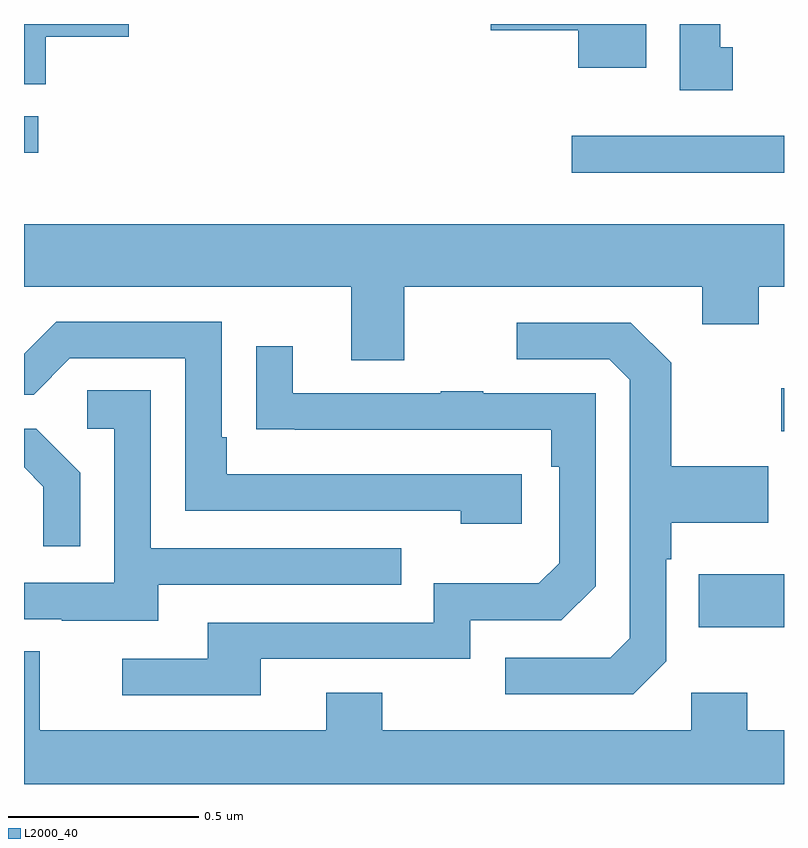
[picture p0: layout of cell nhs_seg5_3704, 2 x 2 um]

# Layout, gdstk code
import gdstk
lib = gdstk.Library(unit=1e-6, precision=1e-09)
def R(c, l, rs):  # rectangles x0, y0, x1, y1
    for r in rs: c.add(gdstk.rectangle(r[:2], r[2:], *l))
def P(c, l, *ps):  # polygons
    for p in ps: c.add(gdstk.Polygon(p, *l))
L2000_40 = (2000, 40)

nhs_seg5_3704 = lib.new_cell('nhs_seg5_3704')
R(nhs_seg5_3704, L2000_40, [(162.775,841.211,163,841.351), (162.993,841.727,163,841.84), (162.441,842.408,163,842.505), (161,842.46,161.038,842.556)])
P(nhs_seg5_3704, L2000_40, [(161.057,842.765),(161.275,842.765),(161.275,842.799),(161,842.799),(161,842.641),(161.057,842.641)],
  [(162.865,842.738),(162.832,842.738),(162.832,842.799),(162.725,842.799),(162.725,842.625),(162.865,842.625)],
  [(162.637,842.799),(162.228,842.799),(162.228,842.783),(162.458,842.783),(162.458,842.684),(162.637,842.684)],
  [(162.001,842.108),(162.785,842.108),(162.785,842.009),(162.933,842.009),(162.933,842.108),(163,842.108),(163,842.272),(161,842.272),(161,842.108),(161.861,842.108),(161.861,841.914),(162.001,841.914)],
  [(162.31,841.614),(161.533,841.614),(161.533,841.711),(161.52,841.711),(161.52,842.016),(161.085,842.016),(161,841.931),(161,841.824),(161.025,841.824),(161.121,841.92),(161.424,841.92),(161.424,841.518),(162.149,841.518),(162.149,841.484),(162.31,841.484)],
  [(162.69,841.122),(162.69,841.391),(162.703,841.391),(162.703,841.487),(162.959,841.487),(162.959,841.635),(162.703,841.635),(162.703,841.907),(162.597,842.013),(162.297,842.013),(162.297,841.917),(162.54,841.917),(162.594,841.863),(162.594,841.182),(162.543,841.131),(162.267,841.131),(162.267,841.035),(162.603,841.035)],
  [(161.623,841.128),(162.174,841.128),(162.174,841.23),(162.414,841.23),(162.504,841.32),(162.504,841.827),(162.209,841.827),(162.209,841.832),(162.097,841.832),(162.097,841.827),(161.707,841.827),(161.707,841.951),(161.611,841.951),(161.611,841.732),(161.713,841.732),(161.713,841.731),(162.388,841.731),(162.388,841.634),(162.408,841.634),(162.408,841.38),(162.355,841.327),(162.078,841.327),(162.078,841.224),(161.483,841.224),(161.483,841.128),(161.259,841.128),(161.259,841.032),(161.623,841.032)],
  [(161.353,841.323),(161.993,841.323),(161.993,841.419),(161.334,841.419),(161.334,841.835),(161.166,841.835),(161.166,841.734),(161.238,841.734),(161.238,841.329),(161,841.329),(161,841.233),(161.099,841.233),(161.099,841.229),(161.353,841.229)],
  [(161.148,841.618),(161.032,841.734),(161,841.734),(161,841.632),(161.051,841.581),(161.051,841.425),(161.148,841.425)],
  [(163,840.94),(162.903,840.94),(162.903,841.039),(162.756,841.039),(162.756,840.94),(161.943,840.94),(161.943,841.039),(161.795,841.039),(161.795,840.94),(161.041,840.94),(161.041,841.148),(161,841.148),(161,840.799),(163,840.799)])

lib.write_gds('nhs_seg5_3704.gds')
